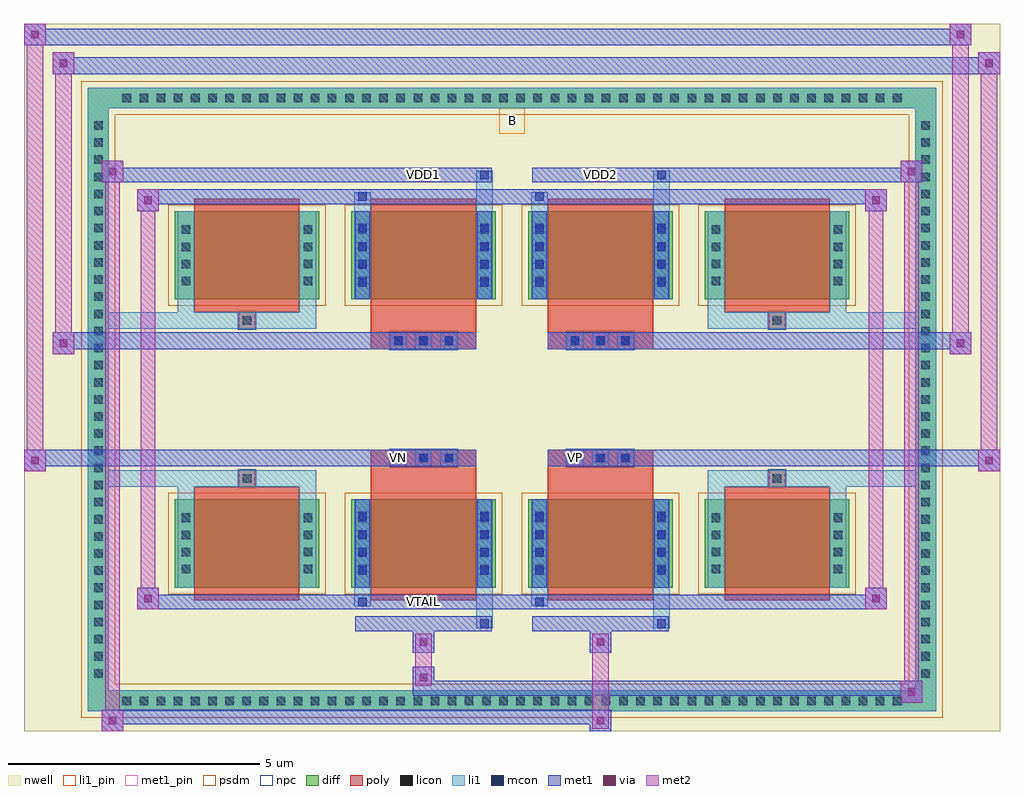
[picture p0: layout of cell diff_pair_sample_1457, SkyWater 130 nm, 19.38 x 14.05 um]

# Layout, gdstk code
import gdstk
lib = gdstk.Library(unit=1e-6, precision=5e-09)
def R(c, l, rs):  # rectangles x0, y0, x1, y1
    for r in rs: c.add(gdstk.rectangle(r[:2], r[2:], *l))
def A(c, l, x, y, w, h, nx, ny, dx, dy):  # array of equal rectangles
    R(c, l, [(x+i*dx, y+j*dy, x+i*dx+w, y+j*dy+h) for i in range(nx) for j in range(ny)])
def P(c, l, *ps):  # polygons
    for p in ps: c.add(gdstk.Polygon(p, *l))
nwell = (64, 20)
diff = (65, 20)
poly = (66, 20)
licon = (66, 44)
li1_pin = (67, 16)
li1 = (67, 20)
mcon = (67, 44)
met1_pin = (68, 16)
met1 = (68, 20)
via = (68, 44)
met2 = (69, 20)
psdm = (94, 20)
npc = (95, 20)

diff_pair_sample_1457 = lib.new_cell('diff_pair_sample_1457')
R(diff_pair_sample_1457, nwell, [(-9.69,-6.59,9.69,7.46), (-7.01,-4.78,-0.01,-0.8), (0.01,-4.78,7.01,-0.8), (-7.01,0.8,-0.01,4.78), (0.01,0.8,7.01,4.78)])
A(diff_pair_sample_1457, diff, -7.855, -6.19, 0.41, 0.41, 46, 2, 0.34, 11.97)
A(diff_pair_sample_1457, diff, -8.42, -5.645, 0.41, 0.41, 1, 33, 0, 0.34)
A(diff_pair_sample_1457, diff, 8.01, -5.645, 0.41, 0.41, 1, 33, 0, 0.34)
A(diff_pair_sample_1457, diff, -6.7, -3.735, 2.87, 1.75, 4, 2, 3.51, 5.72)
R(diff_pair_sample_1457, diff, [(-7.855,-6.19,7.855,-5.78), (-8.42,-5.645,-8.01,5.645), (8.01,-5.645,8.42,5.645), (-7.855,5.78,7.855,6.19)])
P(diff_pair_sample_1457, diff, [(8.42,6.19),(-8.42,6.19),(-8.42,-5.78),(-8.01,-5.78),(-8.01,5.78),(8.01,5.78),(8.01,-5.78),(-8.01,-5.78),(-8.42,-5.78),(-8.42,-6.19),(8.42,-6.19)])
A(diff_pair_sample_1457, poly, -6.31, -3.985, 2.09, 2.25, 4, 2, 3.51, 5.72)
A(diff_pair_sample_1457, poly, -2.42, -1.33, 0.33, 0.33, 3, 2, 0.5, 2.33)
A(diff_pair_sample_1457, poly, 1.09, -1.33, 0.33, 0.33, 3, 2, 0.5, 2.33)
R(diff_pair_sample_1457, poly, [(-5.43,-1.735,-5.1,-1.405), (-5.43,-1.735,-5.1,-1.405), (-2.8,-1.735,-0.71,-1.33), (0.71,-1.735,2.8,-1.33), (5.1,-1.735,5.43,-1.405), (5.1,-1.735,5.43,-1.405), (-2.8,-1.33,-0.71,-1), (0.71,-1.33,2.8,-1), (-2.8,1,-0.71,1.33), (0.71,1,2.8,1.33), (-2.8,1.33,-0.71,1.735), (0.71,1.33,2.8,1.735), (-5.43,1.405,-5.1,1.735), (-5.43,1.405,-5.1,1.735), (5.1,1.405,5.43,1.735), (5.1,1.405,5.43,1.735)])
A(diff_pair_sample_1457, licon, -7.735, -6.07, 0.17, 0.17, 46, 2, 0.34, 11.97)
A(diff_pair_sample_1457, licon, -8.3, -5.525, 0.17, 0.17, 1, 33, 0, 0.34)
A(diff_pair_sample_1457, licon, 8.13, -5.525, 0.17, 0.17, 1, 33, 0, 0.34)
A(diff_pair_sample_1457, licon, -6.56, -3.455, 0.17, 0.17, 1, 4, 0, 0.34)
A(diff_pair_sample_1457, licon, -4.14, -3.455, 0.17, 0.17, 1, 4, 0, 0.34)
A(diff_pair_sample_1457, licon, -3.05, -3.455, 0.17, 0.17, 1, 4, 0, 0.34)
A(diff_pair_sample_1457, licon, -0.63, -3.455, 0.17, 0.17, 1, 4, 0, 0.34)
A(diff_pair_sample_1457, licon, 0.46, -3.455, 0.17, 0.17, 1, 4, 0, 0.34)
A(diff_pair_sample_1457, licon, 2.88, -3.455, 0.17, 0.17, 1, 4, 0, 0.34)
A(diff_pair_sample_1457, licon, 3.97, -3.455, 0.17, 0.17, 1, 4, 0, 0.34)
A(diff_pair_sample_1457, licon, 6.39, -3.455, 0.17, 0.17, 1, 4, 0, 0.34)
A(diff_pair_sample_1457, licon, -2.34, -1.25, 0.17, 0.17, 3, 2, 0.5, 2.33)
A(diff_pair_sample_1457, licon, 1.17, -1.25, 0.17, 0.17, 3, 2, 0.5, 2.33)
A(diff_pair_sample_1457, licon, -6.56, 2.265, 0.17, 0.17, 1, 4, 0, 0.34)
A(diff_pair_sample_1457, licon, -4.14, 2.265, 0.17, 0.17, 1, 4, 0, 0.34)
A(diff_pair_sample_1457, licon, -3.05, 2.265, 0.17, 0.17, 1, 4, 0, 0.34)
A(diff_pair_sample_1457, licon, -0.63, 2.265, 0.17, 0.17, 1, 4, 0, 0.34)
A(diff_pair_sample_1457, licon, 0.46, 2.265, 0.17, 0.17, 1, 4, 0, 0.34)
A(diff_pair_sample_1457, licon, 2.88, 2.265, 0.17, 0.17, 1, 4, 0, 0.34)
A(diff_pair_sample_1457, licon, 3.97, 2.265, 0.17, 0.17, 1, 4, 0, 0.34)
A(diff_pair_sample_1457, licon, 6.39, 2.265, 0.17, 0.17, 1, 4, 0, 0.34)
R(diff_pair_sample_1457, licon, [(-5.35,-1.655,-5.18,-1.485), (5.18,-1.655,5.35,-1.485), (-5.35,1.485,-5.18,1.655), (5.18,1.485,5.35,1.655)])
R(diff_pair_sample_1457, li1_pin, [(-0.25,5.28,0.25,5.78)])
A(diff_pair_sample_1457, li1, -7.815, -6.15, 0.33, 0.33, 46, 2, 0.34, 11.97)
A(diff_pair_sample_1457, li1, -8.38, -5.605, 0.33, 0.33, 1, 33, 0, 0.34)
A(diff_pair_sample_1457, li1, 8.05, -5.605, 0.33, 0.33, 1, 33, 0, 0.34)
A(diff_pair_sample_1457, li1, -6.64, -3.535, 0.33, 0.33, 1, 4, 0, 0.34)
A(diff_pair_sample_1457, li1, -4.22, -3.535, 0.33, 0.33, 1, 4, 0, 0.34)
A(diff_pair_sample_1457, li1, -3.13, -3.535, 0.33, 0.33, 1, 4, 0, 0.34)
A(diff_pair_sample_1457, li1, -0.71, -3.535, 0.33, 0.33, 1, 4, 0, 0.34)
A(diff_pair_sample_1457, li1, 0.38, -3.535, 0.33, 0.33, 1, 4, 0, 0.34)
A(diff_pair_sample_1457, li1, 2.8, -3.535, 0.33, 0.33, 1, 4, 0, 0.34)
A(diff_pair_sample_1457, li1, 3.89, -3.535, 0.33, 0.33, 1, 4, 0, 0.34)
A(diff_pair_sample_1457, li1, 6.31, -3.535, 0.33, 0.33, 1, 4, 0, 0.34)
A(diff_pair_sample_1457, li1, -3.05, -3.485, 0.17, 0.17, 1, 4, 0, 0.36)
A(diff_pair_sample_1457, li1, -0.63, -3.485, 0.17, 0.17, 1, 4, 0, 0.36)
A(diff_pair_sample_1457, li1, 0.46, -3.485, 0.17, 0.17, 1, 4, 0, 0.36)
A(diff_pair_sample_1457, li1, 2.88, -3.485, 0.17, 0.17, 1, 4, 0, 0.36)
A(diff_pair_sample_1457, li1, -2.42, -1.33, 0.33, 0.33, 3, 2, 0.5, 2.33)
A(diff_pair_sample_1457, li1, 1.09, -1.33, 0.33, 0.33, 3, 2, 0.5, 2.33)
A(diff_pair_sample_1457, li1, -6.64, 2.185, 0.33, 0.33, 1, 4, 0, 0.34)
A(diff_pair_sample_1457, li1, -4.22, 2.185, 0.33, 0.33, 1, 4, 0, 0.34)
A(diff_pair_sample_1457, li1, -3.13, 2.185, 0.33, 0.33, 1, 4, 0, 0.34)
A(diff_pair_sample_1457, li1, -0.71, 2.185, 0.33, 0.33, 1, 4, 0, 0.34)
A(diff_pair_sample_1457, li1, 0.38, 2.185, 0.33, 0.33, 1, 4, 0, 0.34)
A(diff_pair_sample_1457, li1, 2.8, 2.185, 0.33, 0.33, 1, 4, 0, 0.34)
A(diff_pair_sample_1457, li1, 3.89, 2.185, 0.33, 0.33, 1, 4, 0, 0.34)
A(diff_pair_sample_1457, li1, 6.31, 2.185, 0.33, 0.33, 1, 4, 0, 0.34)
A(diff_pair_sample_1457, li1, -3.05, 2.235, 0.17, 0.17, 1, 4, 0, 0.36)
A(diff_pair_sample_1457, li1, -0.63, 2.235, 0.17, 0.17, 1, 4, 0, 0.36)
A(diff_pair_sample_1457, li1, 0.46, 2.235, 0.17, 0.17, 1, 4, 0, 0.36)
A(diff_pair_sample_1457, li1, 2.88, 2.235, 0.17, 0.17, 1, 4, 0, 0.36)
R(diff_pair_sample_1457, li1, [(-8.42,-6.19,-8.01,-5.78), (-8.42,-6.19,-8.01,-5.78), (-8.01,-6.19,8.01,-5.78), (8.01,-6.19,8.42,-5.78), (8.01,-6.19,8.42,-5.78), (-8.42,-5.78,-8.01,5.78), (8.01,-5.78,8.42,5.78), (-0.71,-4.54,-0.38,-3.735), (-0.63,-4.54,-0.46,-4.37), (2.8,-4.54,3.13,-3.735), (2.88,-4.54,3.05,-4.37), (-3.13,-4.11,-2.8,-3.735), (-3.05,-4.11,-2.88,-3.94), (0.38,-4.11,0.71,-3.735), (0.46,-4.11,0.63,-3.94), (-6.64,-3.735,-6.31,-1.985), (-4.22,-3.735,-3.89,-1.985), (-3.13,-3.735,-2.8,-1.985), (-0.71,-3.735,-0.38,-1.985), (0.38,-3.735,0.71,-1.985), (2.8,-3.735,3.13,-1.985), (3.89,-3.735,4.22,-1.985), (6.31,-3.735,6.64,-1.985), (-3.05,-3.485,-2.88,-2.235), (-0.63,-3.485,-0.46,-2.235), (0.46,-3.485,0.63,-2.235), (2.88,-3.485,3.05,-2.235), (-6.64,-1.985,-6.31,-1.405), (-4.22,-1.985,-3.89,-1.405), (3.89,-1.985,4.22,-1.405), (6.31,-1.985,6.64,-1.405), (-8.42,-1.735,-5.43,-1.405), (-6.64,-1.735,-5.43,-1.405), (-5.43,-1.735,-5.1,-1.405), (-5.1,-1.735,-3.89,-1.405), (3.89,-1.735,5.1,-1.405), (5.1,-1.735,5.43,-1.405), (5.1,-1.735,8.42,-1.405), (5.43,-1.735,6.64,-1.405), (-8.42,1.405,-5.43,1.735), (-6.64,1.405,-5.43,1.735), (-6.64,1.405,-6.31,1.985), (-5.43,1.405,-5.1,1.735), (-5.1,1.405,-3.89,1.735), (-4.22,1.405,-3.89,1.985), (3.89,1.405,5.1,1.735), (3.89,1.405,4.22,1.985), (5.1,1.405,5.43,1.735), (5.1,1.405,8.42,1.735), (5.43,1.405,6.64,1.735), (6.31,1.405,6.64,1.985), (-6.64,1.985,-6.31,3.735), (-4.22,1.985,-3.89,3.735), (-3.13,1.985,-2.8,3.735), (-0.71,1.985,-0.38,3.735), (0.38,1.985,0.71,3.735), (2.8,1.985,3.13,3.735), (3.89,1.985,4.22,3.735), (6.31,1.985,6.64,3.735), (-3.05,2.235,-2.88,3.485), (-0.63,2.235,-0.46,3.485), (0.46,2.235,0.63,3.485), (2.88,2.235,3.05,3.485), (-3.13,3.735,-2.8,4.11), (-0.71,3.735,-0.38,4.54), (0.38,3.735,0.71,4.11), (2.8,3.735,3.13,4.54), (-3.05,3.94,-2.88,4.11), (0.46,3.94,0.63,4.11), (-0.63,4.37,-0.46,4.54), (2.88,4.37,3.05,4.54), (-8.42,5.78,-8.01,6.19), (-8.42,5.78,-8.01,6.19), (-8.01,5.78,8.01,6.19), (8.01,5.78,8.42,6.19), (8.01,5.78,8.42,6.19)])
A(diff_pair_sample_1457, mcon, -3.05, -3.485, 0.17, 0.17, 1, 4, 0, 0.36)
A(diff_pair_sample_1457, mcon, -0.63, -3.485, 0.17, 0.17, 1, 4, 0, 0.36)
A(diff_pair_sample_1457, mcon, 0.46, -3.485, 0.17, 0.17, 1, 4, 0, 0.36)
A(diff_pair_sample_1457, mcon, 2.88, -3.485, 0.17, 0.17, 1, 4, 0, 0.36)
A(diff_pair_sample_1457, mcon, -2.34, -1.25, 0.17, 0.17, 3, 2, 0.5, 2.33)
A(diff_pair_sample_1457, mcon, 1.17, -1.25, 0.17, 0.17, 3, 2, 0.5, 2.33)
A(diff_pair_sample_1457, mcon, -3.05, 2.235, 0.17, 0.17, 1, 4, 0, 0.36)
A(diff_pair_sample_1457, mcon, -0.63, 2.235, 0.17, 0.17, 1, 4, 0, 0.36)
A(diff_pair_sample_1457, mcon, 0.46, 2.235, 0.17, 0.17, 1, 4, 0, 0.36)
A(diff_pair_sample_1457, mcon, 2.88, 2.235, 0.17, 0.17, 1, 4, 0, 0.36)
R(diff_pair_sample_1457, mcon, [(-0.63,-4.54,-0.46,-4.37), (2.88,-4.54,3.05,-4.37), (-3.05,-4.11,-2.88,-3.94), (0.46,-4.11,0.63,-3.94), (-3.05,3.94,-2.88,4.11), (0.46,3.94,0.63,4.11), (-0.63,4.37,-0.46,4.54), (2.88,4.37,3.05,4.54)])
R(diff_pair_sample_1457, met1_pin, [(-1.89,-4.15,-1.62,-3.88), (-2.39,-1.29,-2.12,-1.02), (1.12,-1.29,1.39,-1.02), (-1.89,4.33,-1.62,4.6), (1.62,4.33,1.89,4.6)])
A(diff_pair_sample_1457, met1, -3.11, -3.545, 0.29, 0.29, 1, 4, 0, 0.36)
A(diff_pair_sample_1457, met1, -0.69, -3.545, 0.29, 0.29, 1, 4, 0, 0.36)
A(diff_pair_sample_1457, met1, 0.4, -3.545, 0.29, 0.29, 1, 4, 0, 0.36)
A(diff_pair_sample_1457, met1, 2.82, -3.545, 0.29, 0.29, 1, 4, 0, 0.36)
A(diff_pair_sample_1457, met1, -2.4, -1.31, 0.29, 0.29, 3, 2, 0.5, 2.33)
A(diff_pair_sample_1457, met1, 1.11, -1.31, 0.29, 0.29, 3, 2, 0.5, 2.33)
A(diff_pair_sample_1457, met1, -3.11, 2.175, 0.29, 0.29, 1, 4, 0, 0.36)
A(diff_pair_sample_1457, met1, -0.69, 2.175, 0.29, 0.29, 1, 4, 0, 0.36)
A(diff_pair_sample_1457, met1, 0.4, 2.175, 0.29, 0.29, 1, 4, 0, 0.36)
A(diff_pair_sample_1457, met1, 2.82, 2.175, 0.29, 0.29, 1, 4, 0, 0.36)
R(diff_pair_sample_1457, met1, [(-8.15,-6.59,-7.72,-6.16), (1.54,-6.59,1.97,-6.16), (-8.15,-6.45,1.97,-6.16), (7.72,-6.02,8.15,-5.59), (-1.97,-5.88,8.15,-5.59), (-1.97,-5.74,-1.54,-5.31), (-1.97,-5.03,-1.54,-4.6), (1.54,-5.03,1.97,-4.6), (-3.11,-4.6,-0.4,-4.31), (-0.69,-4.6,-0.4,-4.31), (0.4,-4.6,3.11,-4.31), (2.82,-4.6,3.11,-4.31), (-7.44,-4.17,-7.01,-3.74), (-7.44,-4.17,-3.11,-3.88), (-3.11,-4.17,-2.82,-3.88), (-3.11,-4.17,-0.4,-3.88), (-0.4,-4.17,0.4,-3.88), (0.4,-4.17,0.69,-3.88), (0.4,-4.17,3.11,-3.88), (3.11,-4.17,7.44,-3.88), (7.01,-4.17,7.44,-3.74), (-3.11,-3.735,-2.82,-1.985), (-0.69,-3.735,-0.4,-1.985), (0.4,-3.735,0.69,-1.985), (2.82,-3.735,3.11,-1.985), (-9.69,-1.43,-9.26,-1), (9.26,-1.43,9.69,-1), (-9.69,-1.33,-0.71,-1), (-2.8,-1.33,-0.71,-1), (0.71,-1.33,2.8,-1), (0.71,-1.33,9.69,-1), (-9.12,0.9,-8.69,1.33), (8.69,0.9,9.12,1.33), (-9.12,1,-2.8,1.33), (-2.8,1,-0.71,1.33), (0.71,1,2.8,1.33), (2.8,1,9.12,1.33), (-3.11,1.985,-2.82,3.735), (-0.69,1.985,-0.4,3.735), (0.4,1.985,0.69,3.735), (2.82,1.985,3.11,3.735), (-7.44,3.74,-7.01,4.17), (7.01,3.74,7.44,4.17), (-7.44,3.88,-3.11,4.17), (-3.11,3.88,-2.82,4.17), (-3.11,3.88,-0.4,4.17), (-0.4,3.88,0.4,4.17), (0.4,3.88,0.69,4.17), (0.4,3.88,3.11,4.17), (3.11,3.88,7.44,4.17), (-8.15,4.31,-7.72,4.74), (-8.15,4.31,-3.11,4.6), (-3.11,4.31,-0.4,4.6), (-0.69,4.31,-0.4,4.6), (0.4,4.31,3.11,4.6), (2.82,4.31,3.11,4.6), (3.11,4.31,8.15,4.6), (7.72,4.31,8.15,4.74), (-9.12,6.46,-8.69,6.89), (-9.12,6.46,-7.01,6.79), (-7.01,6.46,7.01,6.79), (7.01,6.46,9.69,6.79), (9.26,6.46,9.69,6.89), (-9.69,7.03,-9.26,7.46), (-9.69,7.03,-7.01,7.36), (-7.01,7.03,7.01,7.36), (7.01,7.03,9.12,7.36), (8.69,7.03,9.12,7.46)])
R(diff_pair_sample_1457, via, [(-8.01,-6.45,-7.86,-6.3), (1.68,-6.45,1.83,-6.3), (7.86,-5.88,8.01,-5.73), (-1.83,-5.6,-1.68,-5.45), (-1.83,-4.89,-1.68,-4.74), (1.68,-4.89,1.83,-4.74), (-7.3,-4.03,-7.15,-3.88), (7.15,-4.03,7.3,-3.88), (-9.55,-1.29,-9.4,-1.14), (9.4,-1.29,9.55,-1.14), (-8.98,1.04,-8.83,1.19), (8.83,1.04,8.98,1.19), (-7.3,3.88,-7.15,4.03), (7.15,3.88,7.3,4.03), (-8.01,4.45,-7.86,4.6), (7.86,4.45,8.01,4.6), (-8.98,6.6,-8.83,6.75), (9.4,6.6,9.55,6.75), (-9.55,7.17,-9.4,7.32), (8.83,7.17,8.98,7.32)])
R(diff_pair_sample_1457, met2, [(-8.15,-6.59,-7.72,-6.16), (-8.08,-6.59,-7.79,4.74), (-7.79,-6.59,-7.72,-6.16), (-8.1,-6.54,-7.77,-6.21), (1.59,-6.54,1.92,-6.21), (1.59,-6.21,1.92,-4.98), (7.72,-6.02,8.15,-5.59), (7.79,-6.02,8.08,4.74), (8.08,-6.02,8.15,-5.59), (7.77,-5.97,8.1,-5.64), (-1.92,-5.69,-1.59,-5.36), (-1.92,-5.36,-1.59,-4.98), (-1.92,-4.98,-1.59,-4.65), (1.59,-4.98,1.92,-4.65), (-7.44,-4.17,-7.01,-3.74), (-7.37,-4.17,-7.08,4.17), (-7.08,-4.17,-7.01,-3.74), (7.01,-4.17,7.44,-3.74), (7.08,-4.17,7.37,4.17), (7.37,-4.17,7.44,-3.74), (-7.39,-4.12,-7.06,-3.79), (7.06,-4.12,7.39,-3.79), (-9.69,-1.43,-9.26,-1), (-9.64,-1.43,-9.31,7.46), (-9.31,-1.43,-9.26,-1), (9.26,-1.43,9.69,-1), (9.31,-1.43,9.64,6.89), (9.64,-1.43,9.69,-1), (-9.64,-1.38,-9.31,-1.05), (9.31,-1.38,9.64,-1.05), (-9.12,0.9,-8.69,1.33), (-9.07,0.9,-8.74,6.89), (-8.74,0.9,-8.69,1.33), (8.69,0.9,9.12,1.33), (8.74,0.9,9.07,7.46), (9.07,0.9,9.12,1.33), (-9.07,0.95,-8.74,1.28), (8.74,0.95,9.07,1.28), (-7.44,3.74,-7.01,4.17), (-7.08,3.74,-7.01,4.17), (7.01,3.74,7.44,4.17), (7.37,3.74,7.44,4.17), (-7.39,3.79,-7.06,4.12), (7.06,3.79,7.39,4.12), (-8.15,4.31,-7.72,4.74), (-7.79,4.31,-7.72,4.74), (7.72,4.31,8.15,4.74), (8.08,4.31,8.15,4.74), (-8.1,4.36,-7.77,4.69), (7.77,4.36,8.1,4.69), (-9.12,6.46,-8.69,6.89), (-8.74,6.46,-8.69,6.89), (9.26,6.46,9.69,6.89), (9.64,6.46,9.69,6.89), (-9.07,6.51,-8.74,6.84), (9.31,6.51,9.64,6.84), (-9.69,7.03,-9.26,7.46), (-9.31,7.03,-9.26,7.46), (8.69,7.03,9.12,7.46), (9.07,7.03,9.12,7.46), (-9.64,7.08,-9.31,7.41), (8.74,7.08,9.07,7.41)])
A(diff_pair_sample_1457, psdm, -6.83, -3.865, 3.13, 2.01, 4, 2, 3.51, 5.72)
P(diff_pair_sample_1457, psdm, [(8.55,6.32),(-8.55,6.32),(-8.55,-5.65),(-7.88,-5.65),(-7.88,5.65),(7.88,5.65),(7.88,-5.65),(-7.88,-5.65),(-8.55,-5.65),(-8.55,-6.32),(8.55,-6.32)])
A(diff_pair_sample_1457, npc, -2.44, -1.35, 0.37, 0.37, 3, 2, 0.5, 2.33)
A(diff_pair_sample_1457, npc, 1.07, -1.35, 0.37, 0.37, 3, 2, 0.5, 2.33)
R(diff_pair_sample_1457, npc, [(-5.45,-1.755,-5.08,-1.385), (5.08,-1.755,5.45,-1.385), (-2.44,-1.35,-1.57,-0.98), (-2.44,-1.35,-1.57,-0.98), (-1.94,-1.35,-1.07,-0.98), (-1.94,-1.35,-1.07,-0.98), (1.07,-1.35,1.94,-0.98), (1.07,-1.35,1.94,-0.98), (1.57,-1.35,2.44,-0.98), (1.57,-1.35,2.44,-0.98), (-2.44,0.98,-1.57,1.35), (-2.44,0.98,-1.57,1.35), (-1.94,0.98,-1.07,1.35), (-1.94,0.98,-1.07,1.35), (1.07,0.98,1.94,1.35), (1.07,0.98,1.94,1.35), (1.57,0.98,2.44,1.35), (1.57,0.98,2.44,1.35), (-5.45,1.385,-5.08,1.755), (5.08,1.385,5.45,1.755)])
diff_pair_sample_1457.add(gdstk.Label('VTAIL', (-1.755,-4.015), layer=68, texttype=5))
diff_pair_sample_1457.add(gdstk.Label('VN', (-2.255,-1.155), layer=68, texttype=5))
diff_pair_sample_1457.add(gdstk.Label('VP', (1.255,-1.155), layer=68, texttype=5))
diff_pair_sample_1457.add(gdstk.Label('B', (0,5.53), layer=67, texttype=5))
diff_pair_sample_1457.add(gdstk.Label('VDD2', (1.755,4.465), layer=68, texttype=5))
diff_pair_sample_1457.add(gdstk.Label('VDD1', (-1.755,4.465), layer=68, texttype=5))

lib.write_gds('diff_pair_sample_1457.gds')
